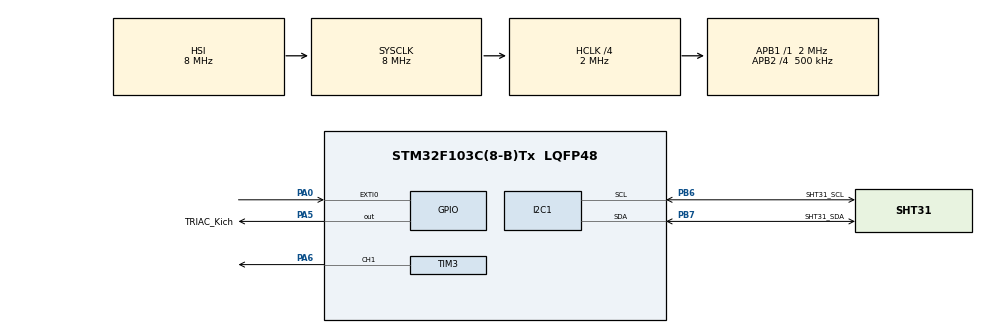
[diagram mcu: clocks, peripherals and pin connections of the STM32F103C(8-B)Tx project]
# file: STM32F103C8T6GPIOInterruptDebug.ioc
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Mcu.Family=STM32F1
Mcu.Name=STM32F103C(8-B)Tx
Mcu.Package=LQFP48
NVIC.EXTI0_IRQn=true\:0\:0\:false\:false\:true\:true\:true\:true
NVIC.PriorityGroup=NVIC_PRIORITYGROUP_4
PA0-WKUP.GPIO_ModeDefaultEXTI=GPIO_MODE_IT_FALLING
PA0-WKUP.GPIO_PuPd=GPIO_PULLUP
PA0-WKUP.Signal=GPXTI0
PA13.Mode=Serial_Wire
PA13.Signal=SYS_JTMS-SWDIO
PA14.Mode=Serial_Wire
PA14.Signal=SYS_JTCK-SWCLK
PA5.GPIO_Label=TRIAC_Kich
PA5.Signal=GPIO_Output
PA6.Signal=S_TIM3_CH1
PB6.GPIO_Label=SHT31_SCL
PB6.Mode=I2C
PB6.Signal=I2C1_SCL
PB7.GPIO_Label=SHT31_SDA
PB7.Mode=I2C
PB7.Signal=I2C1_SDA
PC14-OSC32_IN.Mode=LSE-External-Oscillator
PC14-OSC32_IN.Signal=RCC_OSC32_IN
PC15-OSC32_OUT.Mode=LSE-External-Oscillator
PC15-OSC32_OUT.Signal=RCC_OSC32_OUT
PD0-OSC_IN.Mode=HSE-External-Oscillator
PD0-OSC_IN.Signal=RCC_OSC_IN
PD1-OSC_OUT.Mode=HSE-External-Oscillator
PD1-OSC_OUT.Signal=RCC_OSC_OUT
ProjectManager.HeapSize=0x200
ProjectManager.StackSize=0x400
ProjectManager.TargetToolchain=STM32CubeIDE
RCC.AHBCLKDivider=RCC_SYSCLK_DIV4
RCC.AHBFreq_Value=2000000
RCC.APB1Freq_Value=2000000
RCC.APB1TimFreq_Value=2000000
RCC.APB2CLKDivider=RCC_HCLK_DIV4
RCC.APB2Freq_Value=500000
RCC.APB2TimFreq_Value=1000000
RCC.HCLKFreq_Value=2000000
RCC.SYSCLKFreq_VALUE=8000000
RCC.USBFreq_Value=8000000
SH.S_TIM3_CH1.0=TIM3_CH1,PWM Generation1 CH1
TIM1.Period=0xffff-1
TIM1.Prescaler=72-1
TIM3.Channel-PWM\ Generation1\ CH1=TIM_CHANNEL_1
TIM3.Period=999
TIM3.Prescaler=72-1
VP_TIM1_VS_ClockSourceINT.Mode=Internal
board=custom

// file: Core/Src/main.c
/* USER CODE BEGIN Header */
/**
  ******************************************************************************
  * @file           : main.c
  * @brief          : Main program body
  ******************************************************************************
  * @attention
  *
  * Copyright (c) 2023 STMicroelectronics.
  * All rights reserved.
  *
  * This software is licensed under terms that can be found in the LICENSE file
  * in the root directory of this software component.
  * If no LICENSE file comes with this software, it is provided AS-IS.
  *
  ******************************************************************************
  */
/* USER CODE END Header */
#include "main.h"

/* USER CODE BEGIN Includes */
#include"SHT31.h"
#include"pid.h"
/* USER CODE END Includes */

I2C_HandleTypeDef hi2c1;

TIM_HandleTypeDef htim1;
TIM_HandleTypeDef htim3;

/* USER CODE BEGIN PV */
uint16_t count;
double PWM_PID;
double temperature;
double humidity;
uint16_t PWM;

PID_TypeDef HumidityPID;
double SetPoint;
double kp = 20, ki = 0.0001, kd = 2;

/* USER CODE END PV */

void SystemClock_Config(void);
static void MX_GPIO_Init(void);
static void MX_TIM1_Init(void);
static void MX_I2C1_Init(void);
static void MX_TIM3_Init(void);

int main(void)
{

  /* MCU Configuration--------------------------------------------------------*/

  /* Reset of all peripherals, Initializes the Flash interface and the Systick. */
  HAL_Init();

  /* Configure the system clock */
  SystemClock_Config();

  /* Initialize all configured peripherals */
  MX_GPIO_Init();
  MX_TIM1_Init();
  MX_I2C1_Init();
  MX_TIM3_Init();
  /* USER CODE BEGIN 2 */
  SHT31_Config(SHT31_ADDRESS_A, &hi2c1);

  HAL_TIM_PWM_Start(&htim3,TIM_CHANNEL_1);

  PID(&HumidityPID, &humidity, &PWM_PID, &SetPoint, kp, ki, kd, _PID_P_ON_E, _PID_CD_DIRECT);

  PID_SetMode(&HumidityPID, _PID_MODE_AUTOMATIC);
//  PID_SetSampleTime(&TPID, 500);
  PID_SetOutputLimits(&HumidityPID, 20, 999);

  HAL_Delay(2000);

  /* USER CODE END 2 */

  /* Infinite loop */
  while (1)
  {

    /* USER CODE BEGIN 3 */
		if(SHT31_GetData(SHT31_Periodic, SHT31_Medium, SHT31_NON_Stretch, SHT31_1) == SHT31_OK) {
	  		temperature = SHT31_GetTemperature();
	  		humidity = SHT31_GetHumidity();
		}

//		for(int i=0;i<100;i=i+5)
//		{
//			__HAL_TIM_SetCompare(&htim3,TIM_CHANNEL_1,i);
//			count = i;
//			HAL_Delay(100);
//		}
	    if (PID_Compute(&HumidityPID)) {
	    	PWM = (uint16_t)PWM_PID;
	        // Giá trị đầu ra đã được tính toán, bạn có thể sử dụng giá trị đầu ra để điều khiển hệ thống
	        // Ví dụ: Gửi giá trị đầu ra điều khiển đến bộ điều khiển PWM, thiết bị ngoại vi, v.v.

	    }
  }
  /* USER CODE END 3 */
}

void SystemClock_Config(void)
{
  RCC_OscInitTypeDef RCC_OscInitStruct = {0};
  RCC_ClkInitTypeDef RCC_ClkInitStruct = {0};

  /** Initializes the RCC Oscillators according to the specified parameters
  * in the RCC_OscInitTypeDef structure.
  */
  RCC_OscInitStruct.OscillatorType = RCC_OSCILLATORTYPE_HSI;
  RCC_OscInitStruct.HSIState = RCC_HSI_ON;
  RCC_OscInitStruct.HSICalibrationValue = RCC_HSICALIBRATION_DEFAULT;
  RCC_OscInitStruct.PLL.PLLState = RCC_PLL_NONE;
  if (HAL_RCC_OscConfig(&RCC_OscInitStruct) != HAL_OK)
  {
    Error_Handler();
  }

  /** Initializes the CPU, AHB and APB buses clocks
  */
  RCC_ClkInitStruct.ClockType = RCC_CLOCKTYPE_HCLK|RCC_CLOCKTYPE_SYSCLK
                              |RCC_CLOCKTYPE_PCLK1|RCC_CLOCKTYPE_PCLK2;
  RCC_ClkInitStruct.SYSCLKSource = RCC_SYSCLKSOURCE_HSI;
  RCC_ClkInitStruct.AHBCLKDivider = RCC_SYSCLK_DIV4;
  RCC_ClkInitStruct.APB1CLKDivider = RCC_HCLK_DIV1;
  RCC_ClkInitStruct.APB2CLKDivider = RCC_HCLK_DIV4;

  if (HAL_RCC_ClockConfig(&RCC_ClkInitStruct, FLASH_LATENCY_0) != HAL_OK)
  {
    Error_Handler();
  }
}

static void MX_I2C1_Init(void)
{

  hi2c1.Instance = I2C1;
  hi2c1.Init.ClockSpeed = 100000;
  hi2c1.Init.DutyCycle = I2C_DUTYCYCLE_2;
  hi2c1.Init.OwnAddress1 = 0;
  hi2c1.Init.AddressingMode = I2C_ADDRESSINGMODE_7BIT;
  hi2c1.Init.DualAddressMode = I2C_DUALADDRESS_DISABLE;
  hi2c1.Init.OwnAddress2 = 0;
  hi2c1.Init.GeneralCallMode = I2C_GENERALCALL_DISABLE;
  hi2c1.Init.NoStretchMode = I2C_NOSTRETCH_DISABLE;
  if (HAL_I2C_Init(&hi2c1) != HAL_OK)
  {
    Error_Handler();
  }

}

static void MX_TIM1_Init(void)
{

  TIM_ClockConfigTypeDef sClockSourceConfig = {0};
  TIM_MasterConfigTypeDef sMasterConfig = {0};

  htim1.Instance = TIM1;
  htim1.Init.Prescaler = 72-1;
  htim1.Init.CounterMode = TIM_COUNTERMODE_UP;
  htim1.Init.Period = 0xffff-1;
  htim1.Init.ClockDivision = TIM_CLOCKDIVISION_DIV1;
  htim1.Init.RepetitionCounter = 0;
  htim1.Init.AutoReloadPreload = TIM_AUTORELOAD_PRELOAD_DISABLE;
  if (HAL_TIM_Base_Init(&htim1) != HAL_OK)
  {
    Error_Handler();
  }
  sClockSourceConfig.ClockSource = TIM_CLOCKSOURCE_INTERNAL;
  if (HAL_TIM_ConfigClockSource(&htim1, &sClockSourceConfig) != HAL_OK)
  {
    Error_Handler();
  }
  sMasterConfig.MasterOutputTrigger = TIM_TRGO_RESET;
  sMasterConfig.MasterSlaveMode = TIM_MASTERSLAVEMODE_DISABLE;
  if (HAL_TIMEx_MasterConfigSynchronization(&htim1, &sMasterConfig) != HAL_OK)
  {
    Error_Handler();
  }

}

static void MX_TIM3_Init(void)
{

  TIM_MasterConfigTypeDef sMasterConfig = {0};
  TIM_OC_InitTypeDef sConfigOC = {0};

  htim3.Instance = TIM3;
  htim3.Init.Prescaler = 72-1;
  htim3.Init.CounterMode = TIM_COUNTERMODE_UP;
  htim3.Init.Period = 999;
  htim3.Init.ClockDivision = TIM_CLOCKDIVISION_DIV1;
  htim3.Init.AutoReloadPreload = TIM_AUTORELOAD_PRELOAD_DISABLE;
  if (HAL_TIM_PWM_Init(&htim3) != HAL_OK)
  {
    Error_Handler();
  }
  sMasterConfig.MasterOutputTrigger = TIM_TRGO_RESET;
  sMasterConfig.MasterSlaveMode = TIM_MASTERSLAVEMODE_DISABLE;
  if (HAL_TIMEx_MasterConfigSynchronization(&htim3, &sMasterConfig) != HAL_OK)
  {
    Error_Handler();
  }
  sConfigOC.OCMode = TIM_OCMODE_PWM1;
  sConfigOC.Pulse = 0;
  sConfigOC.OCPolarity = TIM_OCPOLARITY_HIGH;
  sConfigOC.OCFastMode = TIM_OCFAST_DISABLE;
  if (HAL_TIM_PWM_ConfigChannel(&htim3, &sConfigOC, TIM_CHANNEL_1) != HAL_OK)
  {
    Error_Handler();
  }
  HAL_TIM_MspPostInit(&htim3);

}

static void MX_GPIO_Init(void)
{
  GPIO_InitTypeDef GPIO_InitStruct = {0};

  /* GPIO Ports Clock Enable */
  __HAL_RCC_GPIOC_CLK_ENABLE();
  __HAL_RCC_GPIOD_CLK_ENABLE();
  __HAL_RCC_GPIOA_CLK_ENABLE();
  __HAL_RCC_GPIOB_CLK_ENABLE();

  /*Configure GPIO pin Output Level */
  HAL_GPIO_WritePin(TRIAC_Kich_GPIO_Port, TRIAC_Kich_Pin, GPIO_PIN_RESET);

  /*Configure GPIO pin : PA0 */
  GPIO_InitStruct.Pin = GPIO_PIN_0;
  GPIO_InitStruct.Mode = GPIO_MODE_IT_FALLING;
  GPIO_InitStruct.Pull = GPIO_PULLUP;
  HAL_GPIO_Init(GPIOA, &GPIO_InitStruct);

  /*Configure GPIO pin : TRIAC_Kich_Pin */
  GPIO_InitStruct.Pin = TRIAC_Kich_Pin;
  GPIO_InitStruct.Mode = GPIO_MODE_OUTPUT_PP;
  GPIO_InitStruct.Pull = GPIO_NOPULL;
  GPIO_InitStruct.Speed = GPIO_SPEED_FREQ_LOW;
  HAL_GPIO_Init(TRIAC_Kich_GPIO_Port, &GPIO_InitStruct);

  /* EXTI interrupt init*/
  HAL_NVIC_SetPriority(EXTI0_IRQn, 0, 0);
  HAL_NVIC_EnableIRQ(EXTI0_IRQn);

}

/* USER CODE BEGIN 4 */
void delay_us (uint16_t us)
{
	__HAL_TIM_SET_COUNTER(&htim1,0);  // set the counter value a 0
	while (__HAL_TIM_GET_COUNTER(&htim1) < us);  // wait for the counter to reach the us input in the parameter
}

void HAL_GPIO_EXTI_Callback(uint16_t GPIO_Pin){
	if(GPIO_Pin == GPIO_PIN_0){
		count++;
		__HAL_TIM_SetCompare(&htim3,TIM_CHANNEL_1,PWM);
//		int chop_time = (200 * PWM_Val);
//		delay_us(chop_time);
//		HAL_GPIO_WritePin(TRIAC_Kich_GPIO_Port, TRIAC_Kich_Pin, GPIO_PIN_RESET);
//		delay_us(10);
//		HAL_GPIO_WritePin(TRIAC_Kich_GPIO_Port, TRIAC_Kich_Pin, GPIO_PIN_SET);
	}
}

/* USER CODE END 4 */

void Error_Handler(void)
{
  __disable_irq();
  while (1)
  {
  }
}
